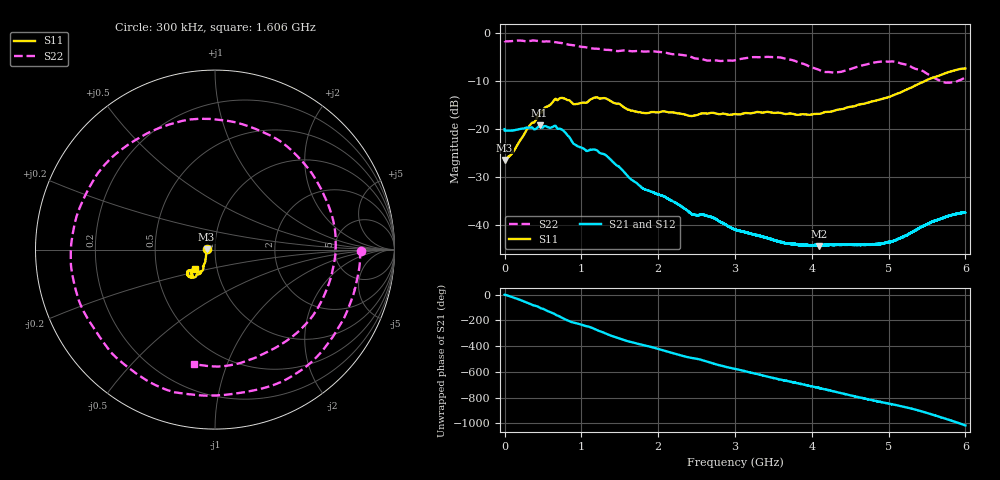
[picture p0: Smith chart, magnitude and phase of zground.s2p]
!  8/6/2020  02:32:31
! Ref Plane: 0.000 mm
# MHZ S MA R  50
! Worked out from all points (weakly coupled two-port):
!   10001 points, 300 kHz to 6 GHz, reference 50 ohm
!   highest |S21| = -19.35 dB at 455.7 MHz (marker M1); lowest = -44.5 dB at 4.097 GHz (marker M2)
!   lowest |S11| = -26.5 dB at 300 kHz (marker M3), VSWR 1.10, Z = 45.5 + j0.0915 ohm
!   |S11| at or under -10 dB: start of sweep to 5.487 GHz
!   |S22| runs from -10.4 to -1.7 dB; largest |S21 - S12| = 0.0024
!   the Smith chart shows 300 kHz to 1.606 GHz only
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0.3  0.0471 178.8  0.09884 -1.0  0.09649 -0.8  0.8156 -0.4
246.2877  0.08473 -129.3  0.1002 -52.1  0.1001 -52.0  0.8171 -71.1
455.6772  0.1479 -122.5  0.1078 -101.0  0.1079 -100.9  0.8152 -132.9
678.2661  0.1991 -133.0  0.1021 -161.9  0.1023 -161.9  0.7889 162.6
1000.45  0.1853 -134.6  0.06344 125.7  0.06344 125.8  0.7101 72.3
1257.837  0.2069 -136.0  0.05515 71.7  0.05517 71.8  0.6713 -1.7
1545.823  0.1683 -138.7  0.03603 7.7  0.03604 7.7  0.6502 -84.2
1788.811  0.1458 -125.5  0.02424 -30.6  0.02417 -30.5  0.6365 -150.8
2000.6  0.1475 -116.6  0.02066 -62.0  0.02066 -62.0  0.6292 153.2
2260.987  0.1439 -110.2  0.01622 -106.9  0.01623 -107.0  0.5925 84.3
2538.773  0.1416 -95.2  0.01261 -143.8  0.0126 -143.8  0.5338 5.9
2778.761  0.1415 -89.4  0.01111 173.5  0.01109 173.7  0.5091 -66.5
3000.15  0.1415 -78.8  0.008842 142.2  0.008889 142.3  0.514 -132.8
3235.938  0.1457 -70.7  0.007951 109.5  0.007907 109.2  0.5544 164.3
3522.124  0.1457 -61.8  0.006874 68.7  0.006777 68.6  0.5548 94.5
3780.711  0.1407 -50.3  0.006239 35.1  0.006231 35.2  0.506 32.0
4000.3  0.1403 -38.9  0.006022 6.7  0.006084 7.3  0.4331 -28.8
4096.895  0.1423 -32.7  0.005972 -5.9  0.006085 -6.5  0.4079 -58.2
4506.075  0.1689 -12.3  0.006154 -63.0  0.006206 -63.5  0.4173 170.0
5000.45  0.2125 6.3  0.006609 -127.5  0.006558 -127.2  0.4972 47.8
5504.425  0.3219 15.8  0.01016 159.3  0.01013 159.6  0.3713 -73.9
6000  0.4225 5.6  0.01331 63.1  0.01335 63.1  0.3417 119.9
